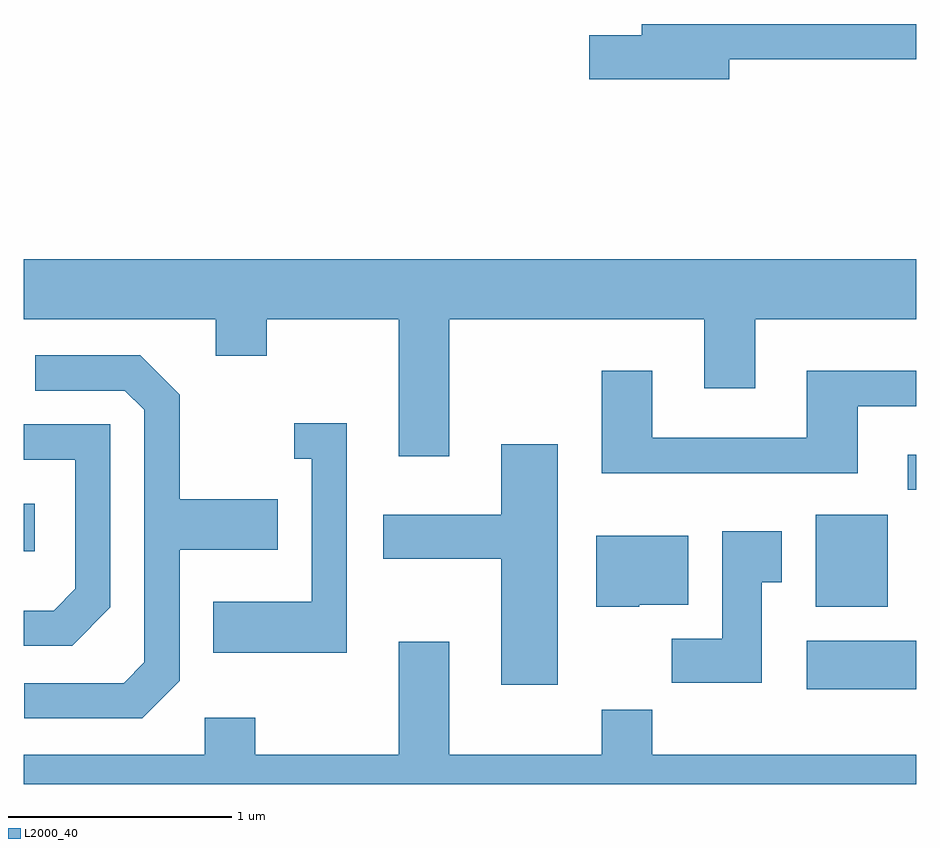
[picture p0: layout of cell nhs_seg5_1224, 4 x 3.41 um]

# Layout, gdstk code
import gdstk
lib = gdstk.Library(unit=1e-6, precision=1e-09)
def R(c, l, rs):  # rectangles x0, y0, x1, y1
    for r in rs: c.add(gdstk.rectangle(r[:2], r[2:], *l))
def P(c, l, *ps):  # polygons
    for p in ps: c.add(gdstk.Polygon(p, *l))
L2000_40 = (2000, 40)

nhs_seg5_1224 = lib.new_cell('nhs_seg5_1224')
R(nhs_seg5_1224, L2000_40, [(225.121,1428.496,225.611,1428.714), (225.161,1428.866,225.484,1429.279), (221.611,1429.116,221.659,1429.329), (225.573,1429.391,225.611,1429.549)])
P(nhs_seg5_1224, L2000_40, [(224.774,1431.321),(225.611,1431.321),(225.611,1431.479),(224.381,1431.479),(224.381,1431.429),(224.146,1431.429),(224.146,1431.231),(224.774,1431.231)],
  [(223.519,1430.156),(224.661,1430.156),(224.661,1429.846),(224.889,1429.846),(224.889,1430.156),(225.611,1430.156),(225.611,1430.424),(221.611,1430.424),(221.611,1430.156),(222.471,1430.156),(222.471,1429.991),(222.699,1429.991),(222.699,1430.156),(223.291,1430.156),(223.291,1429.541),(223.519,1429.541)],
  [(222.309,1428.534),(222.309,1429.121),(222.749,1429.121),(222.749,1429.349),(222.309,1429.349),(222.309,1429.817),(222.132,1429.994),(221.663,1429.994),(221.663,1429.836),(222.064,1429.836),(222.151,1429.749),(222.151,1428.617),(222.059,1428.524),(221.613,1428.524),(221.613,1428.366),(222.142,1428.366)],
  [(225.349,1429.766),(225.611,1429.766),(225.611,1429.924),(225.121,1429.924),(225.121,1429.624),(224.429,1429.624),(224.429,1429.924),(224.201,1429.924),(224.201,1429.466),(225.349,1429.466)],
  [(223.059,1429.689),(222.823,1429.689),(222.823,1429.531),(222.901,1429.531),(222.901,1428.889),(222.461,1428.889),(222.461,1428.661),(223.059,1428.661)],
  [(221.999,1428.864),(221.999,1429.684),(221.611,1429.684),(221.611,1429.526),(221.841,1429.526),(221.841,1428.947),(221.744,1428.849),(221.611,1428.849),(221.611,1428.691),(221.827,1428.691)],
  [(224.004,1429.594),(223.751,1429.594),(223.751,1429.279),(223.221,1429.279),(223.221,1429.081),(223.751,1429.081),(223.751,1428.516),(224.004,1428.516)],
  [(224.919,1428.976),(225.009,1428.976),(225.009,1429.204),(224.741,1429.204),(224.741,1428.724),(224.516,1428.724),(224.516,1428.526),(224.919,1428.526)],
  [(224.37,1428.876),(224.589,1428.876),(224.589,1429.184),(224.176,1429.184),(224.176,1428.866),(224.37,1428.866)],
  [(225.611,1428.204),(224.429,1428.204),(224.429,1428.404),(224.201,1428.404),(224.201,1428.204),(223.519,1428.204),(223.519,1428.709),(223.291,1428.709),(223.291,1428.204),(222.649,1428.204),(222.649,1428.369),(222.421,1428.369),(222.421,1428.204),(221.611,1428.204),(221.611,1428.072),(225.611,1428.072)])

lib.write_gds('nhs_seg5_1224.gds')
